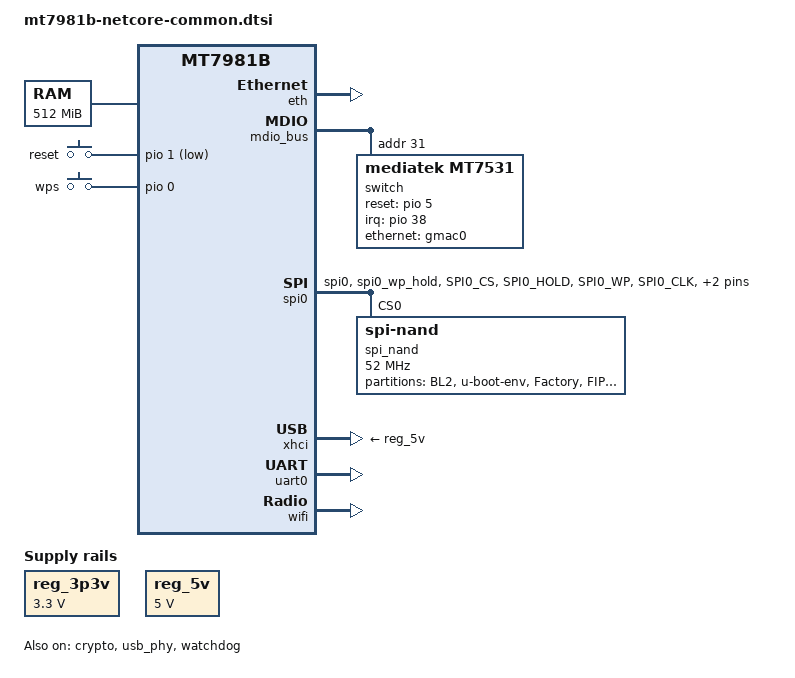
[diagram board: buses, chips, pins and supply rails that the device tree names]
// SPDX-License-Identifier: (GPL-2.0 OR MIT)
/*
 * Copyright (C) 2022 MediaTek Inc.
 * Author: Sam.Shih <sam.shih@mediatek.com>
 */

/dts-v1/;
#include "mt7981b.dtsi"

/ {

	aliases {
		serial0 = &uart0;
	};

	chosen: chosen {
		stdout-path = "serial0:115200n8";
		bootargs-append = " root=/dev/fit0 rootwait";
		rootdisk-spim-nand = <&ubi_rootdisk>;
	};

	memory@40000000 {
		reg = <0 0x40000000 0 0x20000000>;
		device_type = "memory";
	};

	reg_3p3v: regulator-3p3v {
		compatible = "regulator-fixed";
		regulator-name = "fixed-3.3V";
		regulator-min-microvolt = <3300000>;
		regulator-max-microvolt = <3300000>;
		regulator-boot-on;
		regulator-always-on;
	};

	reg_5v: regulator-5v {
		compatible = "regulator-fixed";
		regulator-name = "fixed-5V";
		regulator-min-microvolt = <5000000>;
		regulator-max-microvolt = <5000000>;
		regulator-boot-on;
		regulator-always-on;
	};

	gpio-keys {
		compatible = "gpio-keys";
		reset {
			label = "reset";
			linux,code = <KEY_RESTART>;
			gpios = <&pio 1 GPIO_ACTIVE_LOW>;
		};
		wps {
			label = "wps";
			linux,code = <KEY_WPS_BUTTON>;
			gpios = <&pio 0 GPIO_ACTIVE_HIGH>;
		};
	};
};

&eth {
	status = "okay";

	gmac0: mac@0 {
		compatible = "mediatek,eth-mac";
		reg = <0>;
		phy-mode = "2500base-x";

		fixed-link {
			speed = <2500>;
			full-duplex;
			pause;
		};
	};

	gmac1: mac@1 {
		compatible = "mediatek,eth-mac";
		reg = <1>;
		phy-mode = "gmii";
		phy-handle = <&int_gbe_phy>;
	};
};

&mdio_bus {
	switch: switch@1f {
		compatible = "mediatek,mt7531";
		reg = <31>;
		interrupt-controller;
		#interrupt-cells = <1>;
		interrupt-parent = <&pio>;
		interrupts = <38 IRQ_TYPE_LEVEL_HIGH>;
		reset-gpios = <&pio 5 GPIO_ACTIVE_HIGH>;
	};
};

&crypto {
	status = "okay";
};

&pio {
	spi0_flash_pins: spi0-pins {
		mux {
			function = "spi";
			groups = "spi0", "spi0_wp_hold";
		};
		conf-pu {
			pins = "SPI0_CS", "SPI0_HOLD", "SPI0_WP";
			drive-strength = <MTK_DRIVE_8mA>;
			bias-pull-up = <MTK_PUPD_SET_R1R0_11>;
		};
		conf-pd {
			pins = "SPI0_CLK", "SPI0_MOSI", "SPI0_MISO";
			drive-strength = <MTK_DRIVE_8mA>;
			bias-pull-down = <MTK_PUPD_SET_R1R0_11>;
		};
	};

};

&spi0 {
	pinctrl-names = "default";
	pinctrl-0 = <&spi0_flash_pins>;
	cs-gpios = <0>, <0>;
	#address-cells = <1>;
	#size-cells = <0>;
	status = "okay";

	spi_nand: spi_nand@0 {
		#address-cells = <1>;
		#size-cells = <1>;
		compatible = "spi-nand";
		reg = <0>;
		spi-max-frequency = <52000000>;
		spi-tx-bus-width = <4>;
		spi-rx-bus-width = <4>;

		partitions {
			compatible = "fixed-partitions";
			#address-cells = <1>;
			#size-cells = <1>;

			partition@0 {
				label = "BL2";
				reg = <0x00000 0x0100000>;
			};

			partition@100000 {
				label = "u-boot-env";
				reg = <0x0100000 0x0080000>;
			};

			factory: partition@180000 {
				label = "Factory";
				reg = <0x180000 0x0200000>;
				nvmem-layout {
					compatible = "fixed-layout";
					#address-cells = <1>;
					#size-cells = <1>;

					macaddr_lan: macaddr@1fef20 {
						reg = <0x1fef20 0x6>;
					};

					macaddr_wan: macaddr@1fef26 {
						reg = <0x1fef26 0x6>;
					};
				};
			};

			partition@380000 {
				label = "FIP";
				reg = <0x380000 0x0200000>;
			};

			partition@580000 {
				label = "ubi";
				reg = <0x580000 0x7280000>;
				compatible = "linux,ubi";

				volumes {
					ubi_rootdisk: ubi-volume-fit {
						volname = "fit";
					};
				};
			};
		};
	};
};

&switch {
	ports {
		#address-cells = <1>;
		#size-cells = <0>;

		port@6 {
			reg = <6>;
			ethernet = <&gmac0>;
			phy-mode = "2500base-x";

			fixed-link {
				speed = <2500>;
				full-duplex;
				pause;
			};
		};
	};
};

&xhci {
	vusb33-supply = <&reg_3p3v>;
	vbus-supply = <&reg_5v>;
	status = "okay";
};

&uart0 {
	status = "okay";
};

&usb_phy {
	status = "okay";
};

&watchdog {
	status = "okay";
};

&wifi {
	mediatek,mtd-eeprom = <&factory 0x0>;
	status = "okay";
};

&gmac0 {
	nvmem-cells = <&macaddr_lan>;
	nvmem-cell-names = "mac-address";
};

&gmac1 {
	nvmem-cells = <&macaddr_wan>;
	nvmem-cell-names = "mac-address";
};
